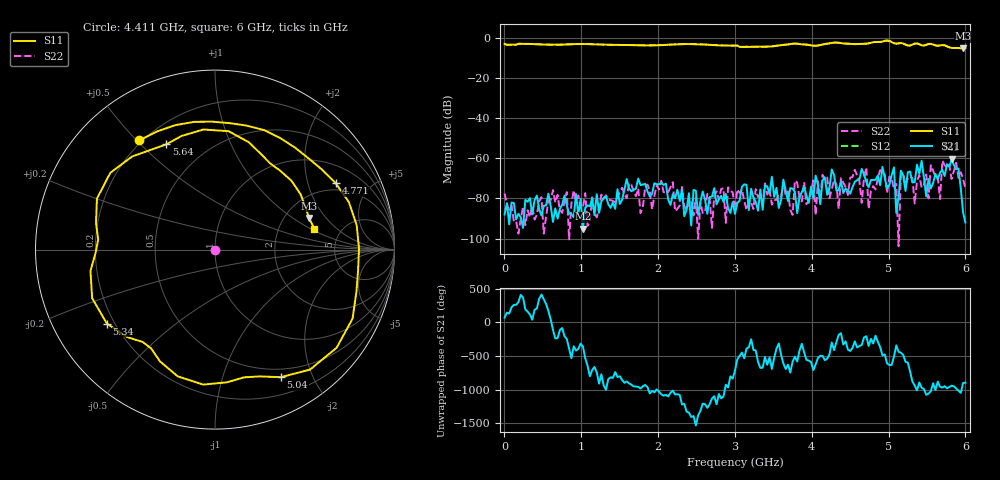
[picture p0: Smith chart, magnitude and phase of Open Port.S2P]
! C:\data\cal kit\Siglent Cal Kit\Open Port.S2P
! Touchstone 1.1 file saved by VNA.EXE V1.60 (www.ke5fx.com/gpib/readme.htm)
! 26/07/2019 10:47:15 a.m.
!  Source: HEWLETT PACKARD,8753C,0,4.12
!  Min freq: 3.000000E+006 Hz
!  Max freq: 6.000000E+009 Hz
!  Points: 201
!  Params: S11 S21 S12 S22
# GHZ S DB R 50
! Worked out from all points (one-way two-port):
!   201 points, 3 MHz to 6 GHz, reference 50 ohm
!   highest |S21| = -60.46 dB at 5.82 GHz (marker M1); lowest = -95.0 dB at 1.022 GHz (marker M2)
!   lowest |S11| = -5.2 dB at 5.97 GHz (marker M3), VSWR 3.47, Z = 135 + j68.4 ohm
!   |S11| at or under -10 dB: nowhere
!   |S22| runs from -103.8 to -61.1 dB; largest |S21 - S12| = 0.88
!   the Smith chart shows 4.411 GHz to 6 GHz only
!   S11 on the Smith chart (normalised r, x): 4.411 GHz: 0.19, +0.51; 4.771 GHz: 1.68, +3.03; 5.04 GHz: 0.40, -1.57; 5.34 GHz: 0.17, -0.30; 5.64 GHz: 0.30, +0.60; 6 GHz: 3.21, +1.08
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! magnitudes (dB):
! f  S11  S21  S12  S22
! 3 MHz  -2.9  -87.9  -2.9  -77.5
! 1.022 GHz  -2.9  -95.0  -2.9  -84.7
! 2.012 GHz  -3.5  -72.9  -3.5  -75.6
! 3.002 GHz  -3.7  -87.7  -3.7  -85.7
! 3.481 GHz  -4.1  -69.2  -4.1  -83.1
! 4.021 GHz  -3.8  -80.0  -3.7  -71.0
! 4.261 GHz  -2.4  -65.5  -2.4  -75.4
! 4.411 GHz  -2.6  -77.3  -2.6  -72.0
! 4.561 GHz  -3.0  -71.7  -3.0  -65.7
! 4.651 GHz  -2.9  -65.2  -2.8  -82.2
! 4.711 GHz  -2.8  -71.8  -2.8  -64.5
! 4.771 GHz  -2.3  -70.8  -2.3  -76.2
! 5.01 GHz  -1.4  -73.2  -1.4  -69.1
! 5.04 GHz  -1.9  -68.4  -2.0  -69.9
! 5.1 GHz  -2.7  -87.3  -2.7  -72.8
! 5.16 GHz  -2.4  -66.1  -2.4  -67.8
! 5.34 GHz  -2.7  -71.8  -2.7  -82.5
! 5.64 GHz  -3.8  -70.5  -3.8  -69.2
! 5.67 GHz  -3.6  -67.0  -3.6  -80.3
! 5.82 GHz  -4.9  -60.5  -4.9  -70.3
! 5.97 GHz  -5.2  -87.0  -5.1  -70.2
! 6 GHz  -4.9  -92.0  -5.0  -75.1
